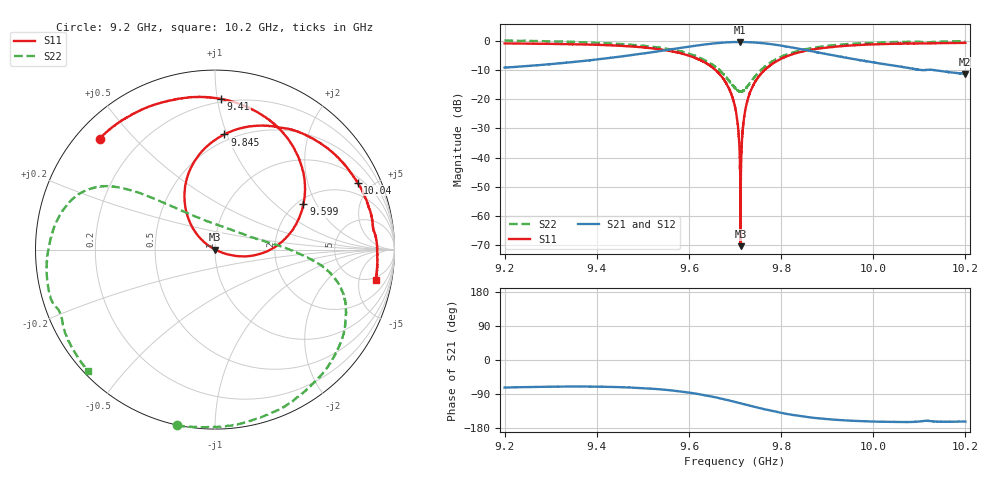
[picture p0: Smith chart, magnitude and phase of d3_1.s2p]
!Agilent Technologies,N5242A,MY51221714,A.09.90.19
!Agilent N5242A: A.09.90.19
!Date: Tuesday, March 26, 2024 16:11:28
!Correction: S11(Full 2 Port(1,2))
!S21(Full 2 Port(1,2))
!S12(Full 2 Port(1,2))
!S22(Full 2 Port(1,2))
!S2P File: Measurements: S11, S21, S12, S22:
# Hz S  dB  R 50
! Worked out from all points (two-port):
!   16001 points, 9.2 GHz to 10.2 GHz, reference 50 ohm
!   highest |S21| = -0.48 dB at 9.71 GHz (marker M1); lowest = -11.4 dB at 10.2 GHz (marker M2)
!   |S21| within 3 dB of the highest: 9.542 GHz to 9.861 GHz (319.1 MHz wide, 3.29 % of centre); 9.860943 GHz to 9.861205 GHz (261.6 kHz wide, 0.00265 % of centre)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
!   lowest |S11| = -70.3 dB at 9.712 GHz (marker M3), VSWR 1.00, Z = 50 + j0.0302 ohm
!   |S11| at or under -10 dB: 9.657 GHz to 9.765 GHz (107.8 MHz wide, 1.11 % of centre); 9.764923 GHz to 9.764954 GHz (31.45 kHz wide, 0.000322 % of centre); 9.765031 GHz to 9.765094 GHz (62.79 kHz wide, 0.000643 % of centre)
!   |S22| runs from -17.5 to 0.0 dB; largest |S21 - S12| = 0.012
!   S11 on the Smith chart (normalised r, x): 9.2 GHz: 0.07, +0.40; 9.41 GHz: 0.18, +1.02; 9.599 GHz: 2.16, +1.57; 9.845 GHz: 0.45, +0.98; 10.04 GHz: 1.27, +4.11; 10.2 GHz: 4.24, -8.68
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9.2e9  -0.99 136.1  -9.25 -72.7  -9.23 -73.4  0.01 -102.2
9.366688e9  -1.32 98.8  -7.05 -70.2  -7.05 -70.8  -0.60 -57.7
9.410062e9  -1.51 87.8  -6.28 -70.6  -6.27 -71.3  -0.83 -46.8
9.533375e9  -2.94 51.7  -3.68 -77.0  -3.68 -77.5  -2.35 -19.6
9.599125e9  -5.14 27.1  -2.11 -85.8  -2.11 -86.4  -4.44 -8.4
9.666438e9  -11.50 -3.9  -0.81 -100.8  -0.81 -101.4  -10.15 6.7
9.686875e9  -16.37 -14.4  -0.59 -106.7  -0.58 -107.2  -13.70 20.9
9.7e9  -22.64 -20.9  -0.51 -110.6  -0.50 -111.2  -16.19 40.8
9.704875e9  -27.14 -23.0  -0.51 -112.1  -0.48 -112.6  -16.94 51.5
9.710188e9  -38.82 -23.5  -0.48 -113.7  -0.47 -114.3  -17.40 65.2
9.712062e9  -70.31 82.6  -0.50 -114.3  -0.48 -114.9  -17.47 69.6
9.715312e9  -33.75 148.2  -0.49 -115.4  -0.49 -115.9  -17.38 78.5
9.718875e9  -27.39 148.2  -0.50 -116.4  -0.49 -117.0  -17.05 87.6
9.723938e9  -22.56 145.1  -0.51 -118.0  -0.51 -118.6  -16.24 99.4
9.74375e9  -14.09 133.7  -0.68 -124.0  -0.67 -124.6  -12.19 125.8
9.783938e9  -7.67 112.9  -1.35 -135.3  -1.35 -136.0  -6.83 140.7
9.844688e9  -3.82 85.3  -2.98 -148.5  -2.99 -149.1  -3.24 149.0
9.866688e9  -3.11 76.7  -3.65 -152.0  -3.65 -152.5  -2.56 152.1
1.003338e10  -1.17 26.4  -8.31 -163.2  -8.29 -163.7  -0.56 -176.8
1.003862e10  -1.14 25.2  -8.42 -163.2  -8.42 -163.8  -0.54 -175.6
1.019981e10  -0.80 -10.6  -11.43 -162.4  -11.42 -162.9  -0.19 -136.3
1.02e10  -0.78 -10.7  -11.41 -162.4  -11.42 -163.0  -0.19 -136.2
